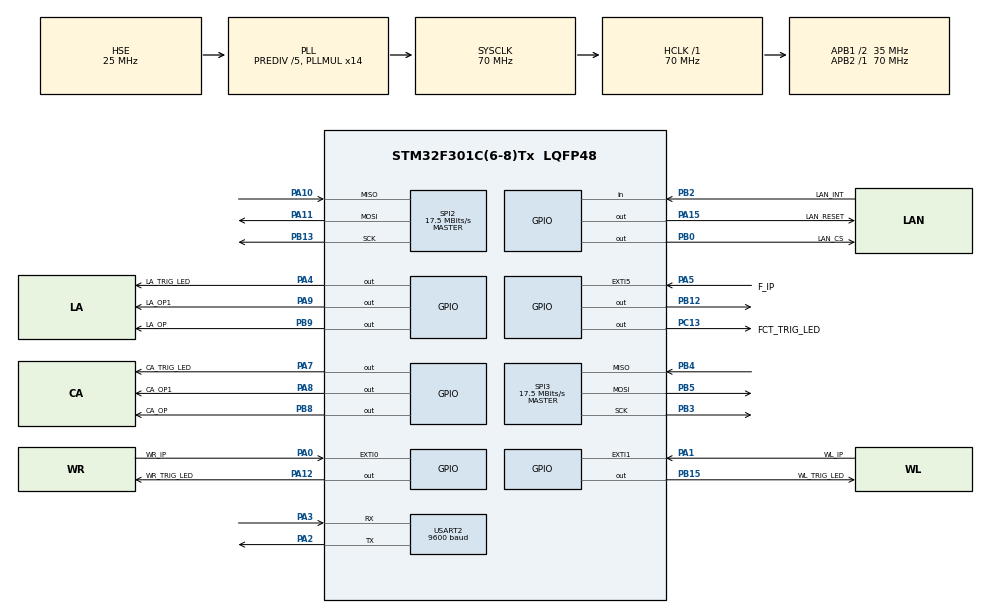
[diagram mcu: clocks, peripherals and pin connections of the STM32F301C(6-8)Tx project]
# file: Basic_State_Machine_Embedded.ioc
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Mcu.Family=STM32F3
Mcu.Name=STM32F301C(6-8)Tx
Mcu.Package=LQFP48
NVIC.EXTI0_IRQn=true\:0\:0\:false\:false\:true\:true\:true\:true
NVIC.EXTI1_IRQn=true\:0\:0\:false\:false\:true\:true\:true\:true
NVIC.EXTI9_5_IRQn=true\:0\:0\:false\:false\:true\:true\:true\:true
NVIC.PriorityGroup=NVIC_PRIORITYGROUP_4
NVIC.TIM1_TRG_COM_TIM17_IRQn=true\:0\:0\:false\:false\:true\:true\:true\:true
NVIC.TIM1_UP_TIM16_IRQn=true\:0\:0\:false\:false\:true\:true\:true\:true
NVIC.TIM6_DAC_IRQn=true\:0\:0\:false\:false\:true\:true\:true\:true
PA0.GPIO_Label=WR_IP
PA0.GPIO_ModeDefaultEXTI=GPIO_MODE_IT_FALLING
PA0.GPIO_PuPd=GPIO_PULLUP
PA0.Signal=GPXTI0
PA1.GPIO_Label=WL_IP
PA1.GPIO_ModeDefaultEXTI=GPIO_MODE_IT_FALLING
PA1.GPIO_PuPd=GPIO_PULLUP
PA1.Signal=GPXTI1
PA10.Mode=Full_Duplex_Master
PA10.Signal=SPI2_MISO
PA11.Mode=Full_Duplex_Master
PA11.Signal=SPI2_MOSI
PA12.GPIO_Label=WR_TRIG_LED
PA12.GPIO_PuPd=GPIO_PULLDOWN
PA12.Signal=GPIO_Output
PA15.GPIO_Label=LAN_RESET
PA15.PinState=GPIO_PIN_SET
PA15.Signal=GPIO_Output
PA2.Mode=Asynchronous
PA2.Signal=USART2_TX
PA3.Mode=Asynchronous
PA3.Signal=USART2_RX
PA4.GPIO_Label=LA_TRIG_LED
PA4.Signal=GPIO_Output
PA5.GPIO_Label=F_IP
PA5.GPIO_ModeDefaultEXTI=GPIO_MODE_IT_FALLING
PA5.GPIO_PuPd=GPIO_PULLUP
PA5.Signal=GPXTI5
PA7.GPIO_Label=CA_TRIG_LED
PA7.GPIO_PuPd=GPIO_NOPULL
PA7.PinState=GPIO_PIN_RESET
PA7.Signal=GPIO_Output
PA8.GPIO_Label=CA_OP1
PA8.PinState=GPIO_PIN_SET
PA8.Signal=GPIO_Output
PA9.GPIO_Label=LA_OP1
PA9.GPIO_PuPd=GPIO_NOPULL
PA9.PinState=GPIO_PIN_SET
PA9.Signal=GPIO_Output
PB0.GPIO_Label=LAN_CS
PB0.GPIO_PuPd=GPIO_PULLUP
PB0.PinState=GPIO_PIN_SET
PB0.Signal=GPIO_Output
PB12.Signal=GPIO_Output
PB13.Mode=Full_Duplex_Master
PB13.Signal=SPI2_SCK
PB15.GPIO_Label=WL_TRIG_LED
PB15.GPIO_PuPd=GPIO_PULLDOWN
PB15.Signal=GPIO_Output
PB2.GPIO_Label=LAN_INT
PB2.GPIO_PuPd=GPIO_PULLUP
PB2.Signal=GPIO_Input
PB3.Mode=Full_Duplex_Master
PB3.Signal=SPI3_SCK
PB4.Mode=Full_Duplex_Master
PB4.Signal=SPI3_MISO
PB5.Mode=Full_Duplex_Master
PB5.Signal=SPI3_MOSI
PB8.GPIO_Label=CA_OP
PB8.PinState=GPIO_PIN_SET
PB8.Signal=GPIO_Output
PB9.GPIO_Label=LA_OP
PB9.GPIO_PuPd=GPIO_NOPULL
PB9.PinState=GPIO_PIN_SET
PB9.Signal=GPIO_Output
PC13.GPIO_Label=FCT_TRIG_LED
PC13.GPIO_PuPd=GPIO_PULLDOWN
PC13.PinState=GPIO_PIN_RESET
PC13.Signal=GPIO_Output
PC14\ -\ OSC32_IN.Mode=LSE-External-Oscillator
PC14\ -\ OSC32_IN.Signal=RCC_OSC32_IN
PC15\ -\ OSC32_OUT.Mode=LSE-External-Oscillator
PC15\ -\ OSC32_OUT.Signal=RCC_OSC32_OUT
PF0-OSC_IN.Mode=HSE-External-Oscillator
PF0-OSC_IN.Signal=RCC_OSC_IN
PF1-OSC_OUT.Mode=HSE-External-Oscillator
PF1-OSC_OUT.Signal=RCC_OSC_OUT
ProjectManager.HeapSize=0x200
ProjectManager.StackSize=0x400
ProjectManager.TargetToolchain=STM32CubeIDE
RCC.AHBFreq_Value=70000000
RCC.APB1CLKDivider=RCC_HCLK_DIV2
RCC.APB1Freq_Value=35000000
RCC.APB1TimFreq_Value=70000000
RCC.APB2Freq_Value=70000000
RCC.APB2TimFreq_Value=70000000
RCC.CortexFreq_Value=70000000
RCC.HCLKFreq_Value=70000000
RCC.HSE_VALUE=25000000
RCC.HSI_VALUE=8000000
RCC.PLLMUL=RCC_PLL_MUL14
RCC.PLLSourceVirtual=RCC_PLLSOURCE_HSE
RCC.RCC_PLLsource_Clock_Source_FROM_HSE=RCC_HSE_PREDIV_DIV5
RCC.RTCClockSelection=RCC_RTCCLKSOURCE_LSE
RCC.SYSCLKFreq_VALUE=70000000
RCC.SYSCLKSourceVirtual=RCC_SYSCLKSOURCE_PLLCLK
RTC.Date=30
RTC.Format=RTC_FORMAT_BIN
RTC.Hours=15
RTC.Minutes=16
RTC.Month=RTC_MONTH_MARCH
RTC.SynchPrediv=255
RTC.WeekDay=RTC_WEEKDAY_WEDNESDAY
RTC.Year=23
SPI2.BaudRatePrescaler=SPI_BAUDRATEPRESCALER_2
SPI2.CalculateBaudRate=17.5 MBits/s
SPI2.DataSize=SPI_DATASIZE_8BIT
SPI2.Direction=SPI_DIRECTION_2LINES
SPI2.Mode=SPI_MODE_MASTER
SPI2.VirtualType=VM_MASTER
SPI3.BaudRatePrescaler=SPI_BAUDRATEPRESCALER_2
SPI3.CalculateBaudRate=17.5 MBits/s
SPI3.DataSize=SPI_DATASIZE_8BIT
SPI3.Direction=SPI_DIRECTION_2LINES
SPI3.Mode=SPI_MODE_MASTER
SPI3.VirtualType=VM_MASTER
TIM16.AutoReloadPreload=TIM_AUTORELOAD_PRELOAD_ENABLE
TIM16.Period=9999
TIM16.Prescaler=6999
TIM17.AutoReloadPreload=TIM_AUTORELOAD_PRELOAD_ENABLE
TIM17.Period=9999
TIM17.Prescaler=6999
TIM2.Period=0xFFFFFFFF-1
TIM2.Prescaler=70-1
TIM6.AutoReloadPreload=TIM_AUTORELOAD_PRELOAD_ENABLE
TIM6.Period=9999
TIM6.Prescaler=6999
USART2.BaudRate=9600
USART2.OverrunDisableParam=ADVFEATURE_OVERRUN_DISABLE
USART2.VirtualMode-Asynchronous=VM_ASYNC
VP_RTC_VS_RTC_Activate.Mode=RTC_Enabled
VP_RTC_VS_RTC_Calendar.Mode=RTC_Calendar
VP_RTC_VS_RTC_WakeUp_intern.Mode=WakeUp
VP_TIM16_VS_ClockSourceINT.Mode=Enable_Timer
VP_TIM17_VS_ClockSourceINT.Mode=Enable_Timer
VP_TIM2_VS_ClockSourceINT.Mode=Internal
VP_TIM6_VS_ClockSourceINT.Mode=Enable_Timer
board=custom

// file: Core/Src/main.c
/* USER CODE BEGIN Header */
/**
  ******************************************************************************
  * @file           : main.c
  * @brief          : Main program body
  ******************************************************************************
  * @attention
  *
  * <h2><center>&copy; Copyright (c) 2022 STMicroelectronics.
  * All rights reserved.</center></h2>
  *
  * This software component is licensed by ST under BSD 3-Clause license,
  * the "License"; You may not use this file except in compliance with the
  * License. You may obtain a copy of the License at:
  *                        opensource.org/licenses/BSD-3-Clause
  *
  ******************************************************************************
  */
/* USER CODE END Header */
#include "main.h"
#include "helper.h"

RTC_HandleTypeDef hrtc;

SPI_HandleTypeDef hspi2;
SPI_HandleTypeDef hspi3;

TIM_HandleTypeDef htim2;
TIM_HandleTypeDef htim6;
TIM_HandleTypeDef htim16;
TIM_HandleTypeDef htim17;

UART_HandleTypeDef huart2;

/* USER CODE BEGIN PV */
#define RtcHandle &hrtc
static uint16_t YearStart = 2000;
char message[50], message1[50];
uint8_t size;
/* USER CODE END PV */

void SystemClock_Config(void);
static void MX_GPIO_Init(void);
static void MX_RTC_Init(void);
static void MX_SPI2_Init(void);
static void MX_SPI3_Init(void);
static void MX_TIM2_Init(void);
static void MX_USART2_UART_Init(void);
static void MX_TIM6_Init(void);
static void MX_TIM16_Init(void);
static void MX_TIM17_Init(void);
/* USER CODE BEGIN PFP */
extern unsigned long int	WR_Counts,
							FCT_Counts,
							WL_Counts;
extern uint8_t Phy_TCP_IP;

extern uint8_t  server_Add[4];

uint32_t count;
uint32_t tim16_count;
uint32_t tim17_count;
uint32_t PortStatus;
uint8_t remotePort;
uint8_t remote;
uint8_t Ping_ack[2048] = PING_ACK_CMD;
uint8_t Abox_not_ready[2048] = ABOX_NOT_READY_CMD;
uint8_t Recv_Ping[2048];
uint8_t Emi_detect = 0;

/* USER CODE END PFP */

/* USER CODE BEGIN 0 */
uint8_t spi_rb(void)
{
	uint8_t rbuf;
	HAL_SPI_Receive(&hspi3, &rbuf, 1, 0xffffffff);
	return rbuf;
}

void spi_wb(uint8_t b)
{
	HAL_SPI_Transmit(&hspi3, &b, 1, 0xffffffff);
}

void Timer2_Stop()
{
	HAL_TIM_Base_DeInit(&htim2);
	HAL_TIM_Base_Stop(&htim2);
}

void Timer2_DeInitilized()
{
	HAL_TIM_Base_DeInit(&htim2);
	HAL_TIM_Base_DeInit(&htim6);
	HAL_TIM_Base_DeInit(&htim16);
	HAL_TIM_Base_DeInit(&htim17);
}

void Timer2_Initilized()
{
	HAL_TIM_Base_Init(&htim2);
	HAL_TIM_Base_Init(&htim6);
	HAL_TIM_Base_Init(&htim16);
	HAL_TIM_Base_Init(&htim17);
}

void Timer2_Start()
{
	HAL_TIM_Base_Start(&htim2);
}

void Timer6_Start()
{
	HAL_TIM_Base_Init(&htim6);
	HAL_TIM_Base_Start_IT(&htim6);
}

void Timer6_Stop()
{
	HAL_TIM_Base_Stop_IT(&htim6);
	HAL_TIM_Base_DeInit(&htim6);
}

void Timer16_Start()
{
	HAL_TIM_Base_Init(&htim16);
	HAL_TIM_Base_Start_IT(&htim16);
}

void Timer16_Stop()
{
	HAL_TIM_Base_Stop_IT(&htim16);
	HAL_TIM_Base_DeInit(&htim16);
}

void Timer17_Start()
{
	HAL_TIM_Base_Init(&htim17);
	HAL_TIM_Base_Start_IT(&htim17);
}

void Timer17_Stop()
{
	HAL_TIM_Base_Stop_IT(&htim17);
	HAL_TIM_Base_DeInit(&htim17);
}

int Timer2_GetTimer()
{
	uint32_t Tim_val = __HAL_TIM_GetCounter(&htim2);
	return Tim_val;
}
/* USER CODE END 0 */

int main(void)
{

  /* MCU Configuration--------------------------------------------------------*/

  /* Reset of all peripherals, Initializes the Flash interface and the Systick. */
  HAL_Init();

  /* Configure the system clock */
  SystemClock_Config();

  /* Initialize all configured peripherals */
  MX_GPIO_Init();
  MX_RTC_Init();
  MX_SPI2_Init();
  MX_SPI3_Init();
  MX_TIM2_Init();
  MX_USART2_UART_Init();
  MX_TIM6_Init();
  MX_TIM16_Init();
  MX_TIM17_Init();
  /* USER CODE BEGIN 2 */
  //unsigned char* Count_Bulletin[10];
  //unsigned char* Count_Bulletin1[10];
  unsigned char Date_RTC[10], Month_RTC[10], Year_RTC[10], Hour_RTC[10], Min_RTC[10], Sec_RTC[10];
  RTC_TimeTypeDef sTime;
  RTC_DateTypeDef sDate;

//  sDate.WeekDay = RTC_WEEKDAY_MONDAY;
//  sDate.Date = 30;
//  sDate.Month = 3;
//  sDate.Year = 23;
//  HAL_RTC_SetDate(RtcHandle, &sDate, RTC_FORMAT_BIN);
//  sTime.Hours = 14;
//  sTime.Minutes = 14;
//  HAL_RTC_SetTime(RtcHandle, &sTime, RTC_FORMAT_BIN);
//  uint16_t mseconds;
  /* USER CODE END 2 */

  /* Infinite loop */
  while (1)
  {

    /* USER CODE BEGIN 3 */
	  HAL_RTC_GetTime(RtcHandle, &sTime, RTC_FORMAT_BIN);
	  HAL_RTC_GetDate(RtcHandle, &sDate, RTC_FORMAT_BIN);
	  //mseconds = (sTime.SubSeconds * 1000) / (sTime.SecondFraction + 1);

	  switch(Get_state())
	  	  {
	  	  case Initilisation_State:
	  		  Initilisation_State_Handler();

	  		  if(Get_event()==Health_Event)
	  		  {
		  		  ctlwizchip(CW_GET_PHYLINK, (void*) &Phy_TCP_IP);
		  		  //if((Phy_TCP_IP==PHY_LINK_OFF) || (PortStatus==SOCKERR_SOCKSTATUS))
		  		  if(Phy_TCP_IP==PHY_LINK_OFF)
		  		  {
		  			  Set_state(Initilisation_State);
		  		  }
		  		  else
		  		  {
		  			Set_state (Health_State);//Health_State_Handler();
		  		  }
	  		  }
	  		  break;

	  	  case Health_State:
	  		  send(0, (uint8_t*)"MCU IN HEALTH STATE\n", strlen("MCU IN HEALTH STATE\n"));
	  		  Health_State_Handler();
	  		  if(Get_event()==Reset_Event)
	  		  {
	  			  Reset_State_Handler();
	  		  }
	  		  break;

	  	  case Reset_State:
	  		  send(0, (uint8_t*)"MCU IN RESET STATE\n", strlen("MCU IN RESET STATE\n"));
	  		  if(Get_event()==Idle_Event)
	  		  {
	  			  Idle_State_Handler();
	  			  Timer16_Stop();
	  			  tim16_count=0;
	  			  Timer16_Start();
	  		  }
	  		  break;

	  	  case Idle_State:
	  		recv(0, Recv_Ping,2048);
	  		if(strcmp(Recv_Ping,DCTR_INIT)==0)
	  			{
	  			Set_event(DCTR_INIT_Event);
	  			}
	  		  if(Get_event()==WRSide_Train_Detect_Event)
	  		  {
	  			  WRSide_Train_Presence_State_Handler();
	  		  }
	  		  else if (Get_event()==WLSide_Train_Detect_Event)
	  		  {
	  			  WLSide_Train_Presence_State_Handler();
	  		  }
			  if (Get_event() == DCTR_INIT_Event)
			  {
				  send(0, (uint8_t*)"MCU TAKING DIRECT CONTROL", strlen("MCU TAKING DIRECT CONTROL"));
				  Direct_Control_State_Handler(); //Go into DC
			  }
//	  		  uint8_t  server_Address[4] = {192,168,1,111};
//	  		  Refresh_Watchdog();
//	  		  connect(0,server_Address,PORT_ADDR);
//	  		  remote = getsockopt(0,SO_STATUS, &remotePort);
//	  		  if(remotePort==28)
//	  		  {
//	  			  Set_state(Initilisation_State);
//	  		  }
	  		   //Check for physical connection.
//	  		  ctlwizchip(CW_GET_PHYLINK, (void*) &Phy_TCP_IP);
//	  		  if(Phy_TCP_IP==PHY_LINK_OFF)
//	  		  {
//	  			  Set_state(Initilisation_State);
//	  		  }
//
//	  		  else if(Phy_TCP_IP==PHY_LINK_ON)
//	  		  {
	  			  //sprintf(message1, "Time: %2.2u:%2.2u:%2.2u\n\r", sTime.Hours, sTime.Minutes, sTime.Seconds);
	  			  //send(0, (uint32_t *)message1,strlen(message1));
	  			  //sprintf(message, "Date: %2.2u-%2.2u-%4.4u\n\r", sDate.Date, sDate.Month, sDate.Year + YearStart,sTime.);
	  			  //send(0, (uint32_t *)message,strlen(message));
	  			  //HAL_Delay(1000);
	  		  if (tim16_count>TIM16TIMEOOUTPERIOD)
	  		  {
	  			  memset(Recv_Ping,0,sizeof Recv_Ping);
	  			  recv(0, Recv_Ping,2048);
	  			  if(strcmp(Abox_not_ready,Recv_Ping)!=0)
	  			  {
	  				  send(0, (uint8_t *)PING_CMD,strlen(PING_CMD));
	  			  }
	  			  Timer16_Stop();
	  			  tim16_count=0;
	  			  Timer16_Start();
	  			  Timer17_Start();

	  			  while(tim17_count<TIM17TIMEOOUTPERIOD)
	  			  {
	  				  recv(0, Recv_Ping,2048);
	  				  if(Get_event()==WRSide_Train_Detect_Event)
	  				  {
	  					  WRSide_Train_Presence_State_Handler();
	  					  break;
	  				  }
	  				  else if (Get_event()==WLSide_Train_Detect_Event)
	  				  {
	  					  WLSide_Train_Presence_State_Handler();
	  					  break;
	  				  }
	  				  if(strcmp(Abox_not_ready,Recv_Ping)==0)
	  				  {
	  					  Timer17_Stop();
	  					  tim17_count=0;
	  					  Set_state(Health_State);
	  					  Set_event(Reset_Event);
	  					  break;
	  				  }
	  			  }
	  			  if(strcmp(Ping_ack,Recv_Ping)!=0 && (Get_state()!=Health_State))
	  			  {
	  				  Timer17_Stop();
	  				  tim17_count=0;
	  				  Set_state(Initilisation_State);
	  				  break;
	  			  }
	  			  Timer17_Stop();
	  			  tim17_count=0;
	  		  }
	  		  break;

		  case Direct_Control_State:
			  Set_event(NULL_Event);
			  memset(Recv_Ping,0,sizeof Recv_Ping);
			  recv(0, Recv_Ping,2048);
			  			if (strcmp(Recv_Ping,DCTR_EXIT)==0)
			  				Set_event(DCTR_EXIT_Event);
			  			if (strcmp(Recv_Ping,DCTR_TRIGGER_CAMERA)==0)
			  				Set_event(DCTR_TRIGGER_CAMERA_Event);
			  			if (strcmp(Recv_Ping,DCTR_TRIGGER_CAMERA_LASER)==0)
			  				Set_event(DCTR_TRIGGER_CAMERA_LASER_Event);
			  			if (strcmp(Recv_Ping,DCTR_PULSE_LASER)==0)
			  				Set_event(DCTR_PULSE_LASER_Event);

			  switch (Get_event())
			  {

			  case DCTR_EXIT_Event:
				  send(0, (uint8_t*)"EXITING DIRECT CONTROL", strlen("EXITING DIRECT CONTROL"));
				  Reset_State_Handler();
				  break;

			  case DCTR_TRIGGER_CAMERA_Event:
				  send(0, (uint8_t*)"TRIGGER CAMERA VIA DIRECT CONTROL", strlen("TRIGGER CAMERA LASER VIA DIRECT CONTROL"));
				  trigger_camera(10000);
				  break;

			  case DCTR_TRIGGER_CAMERA_LASER_Event:
				  send(0, (uint8_t*)"TRIGGER CAMERA AND LASER VIA DIRECT CONTROL", strlen("TRIGGER CAMERA AND LASER VIA DIRECT CONTROL"));
				  trigger_camera_laser(10000);
				  break;

			  case DCTR_PULSE_LASER_Event:
				  send(0, (uint8_t*)"TRIGGER LASER VIA DIRECT CONTROL", strlen("TRIGGER LASER VIA DIRECT CONTROL"));
				  pulse_laser(10000);
				  break;

			  default:
				  break;
			  }

			  break;
	  	  case WRSide_Train_Presence_State:

//			  itoa(count,Count_Bulletin,10);
//			  send(0, (uint32_t *)strcat(Count_Bulletin,","), strlen(Count_Bulletin));
//			  HAL_Delay(1000);
	  		  if(Emi_detect ==0)
	  		  {
	  			  //Start delay
	  			  for(int em_del=0;em_del<10000;em_del++);
		  		  if(WL_Counts>0)
		  		  {
		  			Set_event(Reset_Event);
		  			Reset_State_Handler();
		  		  }
		  		  else
		  		  {
		  			  Emi_detect =1;
		  			  WL_Counts=0;
		  			  WR_Counts=0;
		  		  }
	  		  }

			  if (count>TIMEOOUTPERIOD)
			  {
				  Set_event(Train_Exit_Event);
			  }

	  		  if(Get_event()==Train_Exit_Event)
	  		  {
	  			  Train_Exit_State_Handler();
	  		  }
	  		  break;

	  	  case WLSide_Train_Presence_State:

//			  itoa(count,Count_Bulletin1,10);
//			  send(0, (uint32_t *)strcat(Count_Bulletin1,","), strlen(Count_Bulletin1));
//			  HAL_Delay(1000);
	  		  if(Emi_detect ==0)
	  		  {
	  			  //Start delay
	  			  for(int em_del=0;em_del<10000;em_del++);
		  		  if(WR_Counts>0)
		  		  {
		  			Set_event(Reset_Event);
		  			Reset_State_Handler();
		  		  }
		  		  else
		  		  {
		  			  Emi_detect =1;
		  			  WL_Counts=0;
		  			  WR_Counts=0;
		  		  }
	  		  }
			  if (count>TIMEOOUTPERIOD)
			  {
				  Set_event(Train_Exit_Event);
			  }

	  		  if(Get_event()==Train_Exit_Event)
	  		  {
	  			  Train_Exit_State_Handler();
	  		  }
	  		  break;

	  	  case Train_Exit_State:
	  		  if(Get_event()==Log_Data_Event)
	  		  {
	  			  Log_Data_State_Handler();
	  		  }
	  		  break;

	  	  case Log_Data_State:
	  		  if(Get_event()==Reset_Event)
	  		  {
	  			  Reset_State_Handler();
	  		  }
	  		  break;
	  	  }
  }
  /* USER CODE END 3 */
}

void SystemClock_Config(void)
{
  RCC_OscInitTypeDef RCC_OscInitStruct = {0};
  RCC_ClkInitTypeDef RCC_ClkInitStruct = {0};
  RCC_PeriphCLKInitTypeDef PeriphClkInit = {0};

  /** Configure LSE Drive Capability
  */
  HAL_PWR_EnableBkUpAccess();
  __HAL_RCC_LSEDRIVE_CONFIG(RCC_LSEDRIVE_LOW);
  /** Initializes the RCC Oscillators according to the specified parameters
  * in the RCC_OscInitTypeDef structure.
  */
  RCC_OscInitStruct.OscillatorType = RCC_OSCILLATORTYPE_HSE|RCC_OSCILLATORTYPE_LSE;
  RCC_OscInitStruct.HSEState = RCC_HSE_ON;
  RCC_OscInitStruct.HSEPredivValue = RCC_HSE_PREDIV_DIV5;
  RCC_OscInitStruct.LSEState = RCC_LSE_ON;
  RCC_OscInitStruct.HSIState = RCC_HSI_ON;
  RCC_OscInitStruct.PLL.PLLState = RCC_PLL_ON;
  RCC_OscInitStruct.PLL.PLLSource = RCC_PLLSOURCE_HSE;
  RCC_OscInitStruct.PLL.PLLMUL = RCC_PLL_MUL14;
  if (HAL_RCC_OscConfig(&RCC_OscInitStruct) != HAL_OK)
  {
    Error_Handler();
  }
  /** Initializes the CPU, AHB and APB buses clocks
  */
  RCC_ClkInitStruct.ClockType = RCC_CLOCKTYPE_HCLK|RCC_CLOCKTYPE_SYSCLK
                              |RCC_CLOCKTYPE_PCLK1|RCC_CLOCKTYPE_PCLK2;
  RCC_ClkInitStruct.SYSCLKSource = RCC_SYSCLKSOURCE_PLLCLK;
  RCC_ClkInitStruct.AHBCLKDivider = RCC_SYSCLK_DIV1;
  RCC_ClkInitStruct.APB1CLKDivider = RCC_HCLK_DIV2;
  RCC_ClkInitStruct.APB2CLKDivider = RCC_HCLK_DIV1;

  if (HAL_RCC_ClockConfig(&RCC_ClkInitStruct, FLASH_LATENCY_2) != HAL_OK)
  {
    Error_Handler();
  }
  PeriphClkInit.PeriphClockSelection = RCC_PERIPHCLK_RTC|RCC_PERIPHCLK_TIM16
                              |RCC_PERIPHCLK_TIM17;
  PeriphClkInit.RTCClockSelection = RCC_RTCCLKSOURCE_LSE;
  PeriphClkInit.Tim16ClockSelection = RCC_TIM16CLK_HCLK;
  PeriphClkInit.Tim17ClockSelection = RCC_TIM17CLK_HCLK;
  if (HAL_RCCEx_PeriphCLKConfig(&PeriphClkInit) != HAL_OK)
  {
    Error_Handler();
  }
}

static void MX_RTC_Init(void)
{

  RTC_TimeTypeDef sTime = {0};
  RTC_DateTypeDef sDate = {0};

  /** Initialize RTC Only
  */
  hrtc.Instance = RTC;
  hrtc.Init.HourFormat = RTC_HOURFORMAT_24;
  hrtc.Init.AsynchPrediv = 127;
  hrtc.Init.SynchPrediv = 255;
  hrtc.Init.OutPut = RTC_OUTPUT_DISABLE;
  hrtc.Init.OutPutPolarity = RTC_OUTPUT_POLARITY_HIGH;
  hrtc.Init.OutPutType = RTC_OUTPUT_TYPE_OPENDRAIN;
  if (HAL_RTC_Init(&hrtc) != HAL_OK)
  {
    Error_Handler();
  }

  /* USER CODE BEGIN Check_RTC_BKUP */
  if (HAL_RTCEx_BKUPRead(&hrtc, RTC_BKP_DR1) != 0xBEBE)
     {
     // Write Back Up Register 1 Data
     HAL_PWR_EnableBkUpAccess();
     // Writes a data in a RTC Backup data Register 1
     HAL_RTCEx_BKUPWrite(&hrtc, RTC_BKP_DR1, 0xBEBE);
     HAL_PWR_DisableBkUpAccess();
     }
     else
     {
        // data register already written so turn LED3
        return;
     }

  /* USER CODE END Check_RTC_BKUP */

  /** Initialize RTC and set the Time and Date
  */
  sTime.Hours = 15;
  sTime.Minutes = 16;
  sTime.Seconds = 0;
  sTime.DayLightSaving = RTC_DAYLIGHTSAVING_NONE;
  sTime.StoreOperation = RTC_STOREOPERATION_RESET;
  if (HAL_RTC_SetTime(&hrtc, &sTime, RTC_FORMAT_BIN) != HAL_OK)
  {
    Error_Handler();
  }
  sDate.WeekDay = RTC_WEEKDAY_WEDNESDAY;
  sDate.Month = RTC_MONTH_MARCH;
  sDate.Date = 30;
  sDate.Year = 23;

  if (HAL_RTC_SetDate(&hrtc, &sDate, RTC_FORMAT_BIN) != HAL_OK)
  {
    Error_Handler();
  }
  /** Enable the WakeUp
  */
  if (HAL_RTCEx_SetWakeUpTimer(&hrtc, 0, RTC_WAKEUPCLOCK_RTCCLK_DIV16) != HAL_OK)
  {
    Error_Handler();
  }

}

static void MX_SPI2_Init(void)
{

  /* SPI2 parameter configuration*/
  hspi2.Instance = SPI2;
  hspi2.Init.Mode = SPI_MODE_MASTER;
  hspi2.Init.Direction = SPI_DIRECTION_2LINES;
  hspi2.Init.DataSize = SPI_DATASIZE_8BIT;
  hspi2.Init.CLKPolarity = SPI_POLARITY_LOW;
  hspi2.Init.CLKPhase = SPI_PHASE_1EDGE;
  hspi2.Init.NSS = SPI_NSS_SOFT;
  hspi2.Init.BaudRatePrescaler = SPI_BAUDRATEPRESCALER_2;
  hspi2.Init.FirstBit = SPI_FIRSTBIT_MSB;
  hspi2.Init.TIMode = SPI_TIMODE_DISABLE;
  hspi2.Init.CRCCalculation = SPI_CRCCALCULATION_DISABLE;
  hspi2.Init.CRCPolynomial = 7;
  hspi2.Init.CRCLength = SPI_CRC_LENGTH_DATASIZE;
  hspi2.Init.NSSPMode = SPI_NSS_PULSE_ENABLE;
  if (HAL_SPI_Init(&hspi2) != HAL_OK)
  {
    Error_Handler();
  }

}

static void MX_SPI3_Init(void)
{

  /* SPI3 parameter configuration*/
  hspi3.Instance = SPI3;
  hspi3.Init.Mode = SPI_MODE_MASTER;
  hspi3.Init.Direction = SPI_DIRECTION_2LINES;
  hspi3.Init.DataSize = SPI_DATASIZE_8BIT;
  hspi3.Init.CLKPolarity = SPI_POLARITY_LOW;
  hspi3.Init.CLKPhase = SPI_PHASE_1EDGE;
  hspi3.Init.NSS = SPI_NSS_SOFT;
  hspi3.Init.BaudRatePrescaler = SPI_BAUDRATEPRESCALER_2;
  hspi3.Init.FirstBit = SPI_FIRSTBIT_MSB;
  hspi3.Init.TIMode = SPI_TIMODE_DISABLE;
  hspi3.Init.CRCCalculation = SPI_CRCCALCULATION_DISABLE;
  hspi3.Init.CRCPolynomial = 7;
  hspi3.Init.CRCLength = SPI_CRC_LENGTH_DATASIZE;
  hspi3.Init.NSSPMode = SPI_NSS_PULSE_ENABLE;
  if (HAL_SPI_Init(&hspi3) != HAL_OK)
  {
    Error_Handler();
  }

}

static void MX_TIM2_Init(void)
{

  TIM_ClockConfigTypeDef sClockSourceConfig = {0};
  TIM_MasterConfigTypeDef sMasterConfig = {0};

  htim2.Instance = TIM2;
  htim2.Init.Prescaler = 70-1;
  htim2.Init.CounterMode = TIM_COUNTERMODE_UP;
  htim2.Init.Period = 0xFFFFFFFF-1;
  htim2.Init.ClockDivision = TIM_CLOCKDIVISION_DIV1;
  htim2.Init.AutoReloadPreload = TIM_AUTORELOAD_PRELOAD_DISABLE;
  if (HAL_TIM_Base_Init(&htim2) != HAL_OK)
  {
    Error_Handler();
  }
  sClockSourceConfig.ClockSource = TIM_CLOCKSOURCE_INTERNAL;
  if (HAL_TIM_ConfigClockSource(&htim2, &sClockSourceConfig) != HAL_OK)
  {
    Error_Handler();
  }
  sMasterConfig.MasterOutputTrigger = TIM_TRGO_RESET;
  sMasterConfig.MasterSlaveMode = TIM_MASTERSLAVEMODE_DISABLE;
  if (HAL_TIMEx_MasterConfigSynchronization(&htim2, &sMasterConfig) != HAL_OK)
  {
    Error_Handler();
  }

}

static void MX_TIM6_Init(void)
{

  TIM_MasterConfigTypeDef sMasterConfig = {0};

  htim6.Instance = TIM6;
  htim6.Init.Prescaler = 6999;
  htim6.Init.CounterMode = TIM_COUNTERMODE_UP;
  htim6.Init.Period = 9999;
  htim6.Init.AutoReloadPreload = TIM_AUTORELOAD_PRELOAD_ENABLE;
  if (HAL_TIM_Base_Init(&htim6) != HAL_OK)
  {
    Error_Handler();
  }
  sMasterConfig.MasterOutputTrigger = TIM_TRGO_RESET;
  sMasterConfig.MasterSlaveMode = TIM_MASTERSLAVEMODE_DISABLE;
  if (HAL_TIMEx_MasterConfigSynchronization(&htim6, &sMasterConfig) != HAL_OK)
  {
    Error_Handler();
  }

}

static void MX_TIM16_Init(void)
{

  htim16.Instance = TIM16;
  htim16.Init.Prescaler = 6999;
  htim16.Init.CounterMode = TIM_COUNTERMODE_UP;
  htim16.Init.Period = 9999;
  htim16.Init.ClockDivision = TIM_CLOCKDIVISION_DIV1;
  htim16.Init.RepetitionCounter = 0;
  htim16.Init.AutoReloadPreload = TIM_AUTORELOAD_PRELOAD_ENABLE;
  if (HAL_TIM_Base_Init(&htim16) != HAL_OK)
  {
    Error_Handler();
  }

}

static void MX_TIM17_Init(void)
{

  htim17.Instance = TIM17;
  htim17.Init.Prescaler = 6999;
  htim17.Init.CounterMode = TIM_COUNTERMODE_UP;
  htim17.Init.Period = 9999;
  htim17.Init.ClockDivision = TIM_CLOCKDIVISION_DIV1;
  htim17.Init.RepetitionCounter = 0;
  htim17.Init.AutoReloadPreload = TIM_AUTORELOAD_PRELOAD_ENABLE;
  if (HAL_TIM_Base_Init(&htim17) != HAL_OK)
  {
    Error_Handler();
  }

}

static void MX_USART2_UART_Init(void)
{

  huart2.Instance = USART2;
  huart2.Init.BaudRate = 9600;
  huart2.Init.WordLength = UART_WORDLENGTH_8B;
  huart2.Init.StopBits = UART_STOPBITS_1;
  huart2.Init.Parity = UART_PARITY_NONE;
  huart2.Init.Mode = UART_MODE_TX_RX;
  huart2.Init.HwFlowCtl = UART_HWCONTROL_NONE;
  huart2.Init.OverSampling = UART_OVERSAMPLING_16;
  huart2.Init.OneBitSampling = UART_ONE_BIT_SAMPLE_DISABLE;
  huart2.AdvancedInit.AdvFeatureInit = UART_ADVFEATURE_RXOVERRUNDISABLE_INIT;
  huart2.AdvancedInit.OverrunDisable = UART_ADVFEATURE_OVERRUN_DISABLE;
  if (HAL_UART_Init(&huart2) != HAL_OK)
  {
    Error_Handler();
  }

}

static void MX_GPIO_Init(void)
{
  GPIO_InitTypeDef GPIO_InitStruct = {0};

  /* GPIO Ports Clock Enable */
  __HAL_RCC_GPIOC_CLK_ENABLE();
  __HAL_RCC_GPIOF_CLK_ENABLE();
  __HAL_RCC_GPIOA_CLK_ENABLE();
  __HAL_RCC_GPIOB_CLK_ENABLE();

  /*Configure GPIO pin Output Level */
  HAL_GPIO_WritePin(FCT_TRIG_LED_GPIO_Port, FCT_TRIG_LED_Pin, GPIO_PIN_RESET);

  /*Configure GPIO pin Output Level */
  HAL_GPIO_WritePin(GPIOA, LA_TRIG_LED_Pin|CA_TRIG_LED_Pin|WR_TRIG_LED_Pin, GPIO_PIN_RESET);

  /*Configure GPIO pin Output Level */
  HAL_GPIO_WritePin(GPIOB, LAN_CS_Pin|CA_OP_Pin|LA_OP_Pin, GPIO_PIN_SET);

  /*Configure GPIO pin Output Level */
  HAL_GPIO_WritePin(GPIOB, GPIO_PIN_12|WL_TRIG_LED_Pin, GPIO_PIN_RESET);

  /*Configure GPIO pin Output Level */
  HAL_GPIO_WritePin(GPIOA, CA_OP1_Pin|LA_OP1_Pin|LAN_RESET_Pin, GPIO_PIN_SET);

  /*Configure GPIO pin : FCT_TRIG_LED_Pin */
  GPIO_InitStruct.Pin = FCT_TRIG_LED_Pin;
  GPIO_InitStruct.Mode = GPIO_MODE_OUTPUT_PP;
  GPIO_InitStruct.Pull = GPIO_PULLDOWN;
  GPIO_InitStruct.Speed = GPIO_SPEED_FREQ_LOW;
  HAL_GPIO_Init(FCT_TRIG_LED_GPIO_Port, &GPIO_InitStruct);

  /*Configure GPIO pins : WR_IP_Pin WL_IP_Pin F_IP_Pin */
  GPIO_InitStruct.Pin = WR_IP_Pin|WL_IP_Pin|F_IP_Pin;
  GPIO_InitStruct.Mode = GPIO_MODE_IT_FALLING;
  GPIO_InitStruct.Pull = GPIO_PULLUP;
  HAL_GPIO_Init(GPIOA, &GPIO_InitStruct);

  /*Configure GPIO pins : LA_TRIG_LED_Pin CA_TRIG_LED_Pin CA_OP1_Pin LA_OP1_Pin
                           LAN_RESET_Pin */
  GPIO_InitStruct.Pin = LA_TRIG_LED_Pin|CA_TRIG_LED_Pin|CA_OP1_Pin|LA_OP1_Pin
                          |LAN_RESET_Pin;
  GPIO_InitStruct.Mode = GPIO_MODE_OUTPUT_PP;
  GPIO_InitStruct.Pull = GPIO_NOPULL;
  GPIO_InitStruct.Speed = GPIO_SPEED_FREQ_LOW;
  HAL_GPIO_Init(GPIOA, &GPIO_InitStruct);

  /*Configure GPIO pin : LAN_CS_Pin */
  GPIO_InitStruct.Pin = LAN_CS_Pin;
  GPIO_InitStruct.Mode = GPIO_MODE_OUTPUT_PP;
  GPIO_InitStruct.Pull = GPIO_PULLUP;
  GPIO_InitStruct.Speed = GPIO_SPEED_FREQ_LOW;
  HAL_GPIO_Init(LAN_CS_GPIO_Port, &GPIO_InitStruct);

  /*Configure GPIO pin : LAN_INT_Pin */
  GPIO_InitStruct.Pin = LAN_INT_Pin;
  GPIO_InitStruct.Mode = GPIO_MODE_INPUT;
  GPIO_InitStruct.Pull = GPIO_PULLUP;
  HAL_GPIO_Init(LAN_INT_GPIO_Port, &GPIO_InitStruct);

  /*Configure GPIO pins : PB12 CA_OP_Pin LA_OP_Pin */
  GPIO_InitStruct.Pin = GPIO_PIN_12|CA_OP_Pin|LA_OP_Pin;
  GPIO_InitStruct.Mode = GPIO_MODE_OUTPUT_PP;
  GPIO_InitStruct.Pull = GPIO_NOPULL;
  GPIO_InitStruct.Speed = GPIO_SPEED_FREQ_LOW;
  HAL_GPIO_Init(GPIOB, &GPIO_InitStruct);

  /*Configure GPIO pin : WL_TRIG_LED_Pin */
  GPIO_InitStruct.Pin = WL_TRIG_LED_Pin;
  GPIO_InitStruct.Mode = GPIO_MODE_OUTPUT_PP;
  GPIO_InitStruct.Pull = GPIO_PULLDOWN;
  GPIO_InitStruct.Speed = GPIO_SPEED_FREQ_LOW;
  HAL_GPIO_Init(WL_TRIG_LED_GPIO_Port, &GPIO_InitStruct);

  /*Configure GPIO pin : WR_TRIG_LED_Pin */
  GPIO_InitStruct.Pin = WR_TRIG_LED_Pin;
  GPIO_InitStruct.Mode = GPIO_MODE_OUTPUT_PP;
  GPIO_InitStruct.Pull = GPIO_PULLDOWN;
  GPIO_InitStruct.Speed = GPIO_SPEED_FREQ_LOW;
  HAL_GPIO_Init(WR_TRIG_LED_GPIO_Port, &GPIO_InitStruct);

  /* EXTI interrupt init*/
  HAL_NVIC_SetPriority(EXTI0_IRQn, 0, 0);
  HAL_NVIC_EnableIRQ(EXTI0_IRQn);

  HAL_NVIC_SetPriority(EXTI1_IRQn, 0, 0);
  HAL_NVIC_EnableIRQ(EXTI1_IRQn);

  HAL_NVIC_SetPriority(EXTI9_5_IRQn, 0, 0);
  HAL_NVIC_EnableIRQ(EXTI9_5_IRQn);

}

/* USER CODE BEGIN 4 */
void HAL_GPIO_EXTI_Callback(uint16_t GPIO_Pin)
{

  /* Prevent unused argument(s) compilation warning */
  UNUSED(GPIO_Pin);

  /* NOTE: This function should not be modified, when the callback is needed
   */

  switch(GPIO_Pin)
  {
  case WR_IP_Pin:
	  send(0, (buff_size *)" WRCall_MCU,",strlen(" WRCall_MCU,"));
	  switch(Get_state()){
	  case Idle_State:
		  Set_event(WRSide_Train_Detect_Event);
	  case WRSide_Train_Presence_State:
		  WR_Interrupt_Service();
		  break;
	  case WLSide_Train_Presence_State:
		  WR_Interrupt_Service();
		  break;
	  }

	  if (WR_Counts==WL_Counts)//(Counts of WL_Counts==WR_Counts)
	  {
		  Set_event(Train_Exit_Event);
	  }
	  break;

  case WL_IP_Pin:
	  send(0, (buff_size *)" WLCall_MCU,",strlen(" WLCall_MCU,"));
	  switch(Get_state()){
	  case Idle_State:
		  Set_event(WLSide_Train_Detect_Event);
	  case WRSide_Train_Presence_State:
		  WL_Interrupt_Service();
		  break;
	  case WLSide_Train_Presence_State:
		  WL_Interrupt_Service();
		  break;
	  }

	  if (WR_Counts==WL_Counts)
	  {
		  Set_event(Train_Exit_Event);
	  }

	  break;

  case F_IP_Pin:
	  send(0, (buff_size *)" FCall_MCU,",strlen(" FCall_MCU,"));
	  switch(Get_state())
	  {
	  case WRSide_Train_Presence_State:
		  FCT_Interrupt_Service();
		  break;
	  case WLSide_Train_Presence_State:
		  FCT_Interrupt_Service();
		  break;
	  }
	  break;

  case LAN_INT_Pin:

	  Lan_Interrupt_Service();
	  break;
  }
}
/* USER CODE END 4 */

void Error_Handler(void)
{
}

/************************ (C) COPYRIGHT STMicroelectronics *****END OF FILE****/
